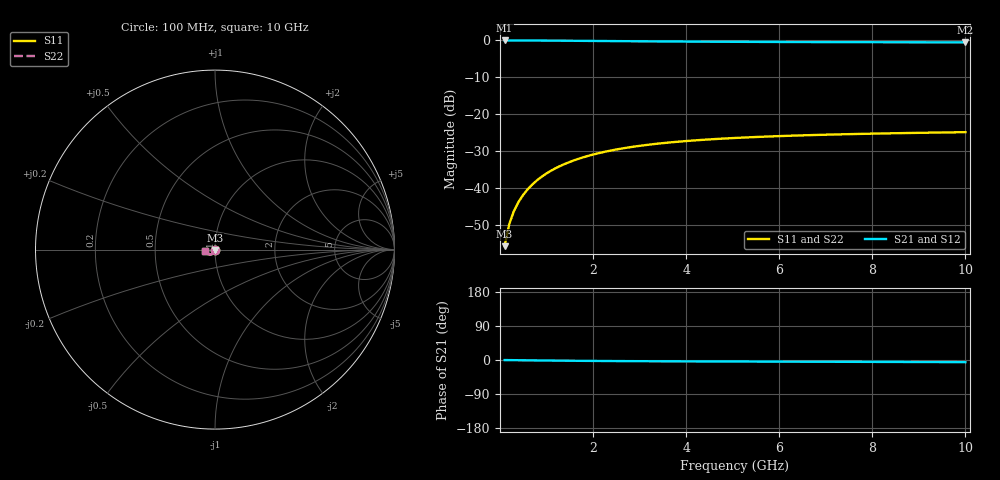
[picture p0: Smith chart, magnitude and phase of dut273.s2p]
! Touchstone file exported from HFSS 2024.1.0
!  File:  C:/UserFiles/LocalFiles/RDL_TSV_Batchsim/temp_TSV1_273_1778770022.aedt
!  Generated:  10:51:16 PM May 14, 2026
!  Design:  TSV1
!  Project:  temp_TSV1_273_1778770022
!  Setup:  Setup1
!  Solution:  Sweep
! Variables:
!  dtsv = 12.09um
!  hbump = 3um
!  htsv = 88.58um
!  lrdl = 252.1521522um
!  p = 40
!  p1 = 51.28um
!  t = 500um
!  trdl = 3um
!  wrdl = 24.89489489um
# GHz S MA R 50.000000
! Terminal data exported
! Port[1] = TSV22_T1
! Port[2] = TSV22_T2
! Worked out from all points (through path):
!   100 points, 100 MHz to 10 GHz, reference 50 ohm
!   highest |S21| = 0.00 dB at 100 MHz (marker M1); lowest = -0.5 dB at 10 GHz (marker M2)
!   lowest |S11| = -55.7 dB at 100 MHz (marker M3), VSWR 1.00, Z = 50 - j0.163 ohm
!   |S11| at or under -10 dB: start of sweep to end of sweep
!   |S22| runs from -55.7 to -24.9 dB; largest |S21 - S12| = 3.2e-15
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0.1  0.001631 -88.0  0.9998 -0.1  0.9998 -0.1  0.001631 -88.0
! Gamma 0 0 0 0
! Port Impedance 50 0 50 0
0.2  0.003258 -91.5  0.9997 -0.3  0.9997 -0.3  0.003258 -91.5
0.3  0.004882 -93.8  0.9994 -0.4  0.9994 -0.4  0.004882 -93.8
0.4  0.0065 -95.9  0.999 -0.6  0.999 -0.6  0.0065 -95.9
0.5  0.008104 -97.8  0.9986 -0.7  0.9986 -0.7  0.008104 -97.8
0.6  0.00969 -99.7  0.998 -0.9  0.998 -0.9  0.00969 -99.7
0.7  0.01125 -101.5  0.9974 -1.0  0.9974 -1.0  0.01125 -101.5
0.8  0.01279 -103.3  0.9967 -1.1  0.9967 -1.1  0.01279 -103.3
0.9  0.0143 -105.0  0.996 -1.3  0.996 -1.3  0.0143 -105.0
1.1  0.01721 -108.4  0.9943 -1.5  0.9943 -1.5  0.01721 -108.4
1.4  0.02131 -113.2  0.9914 -1.9  0.9914 -1.9  0.02131 -113.2
1.6  0.02384 -116.3  0.9893 -2.1  0.9893 -2.1  0.02384 -116.3
1.8  0.02622 -119.2  0.9871 -2.3  0.9871 -2.3  0.02622 -119.2
2.1  0.02948 -123.3  0.9838 -2.5  0.9838 -2.5  0.02948 -123.3
2.5  0.0333 -128.3  0.9794 -2.8  0.9794 -2.8  0.0333 -128.3
2.9  0.03657 -132.8  0.9752 -3.1  0.9752 -3.1  0.03657 -132.8
3.4  0.04 -137.8  0.9705 -3.3  0.9705 -3.3  0.04 -137.8
4.2  0.0443 -144.7  0.964 -3.7  0.964 -3.7  0.0443 -144.7
5.1  0.04788 -151.0  0.9582 -4.0  0.9582 -4.0  0.04788 -151.0
6.7  0.05221 -159.9  0.9508 -4.6  0.9508 -4.6  0.05221 -159.9
8.4  0.05519 -167.3  0.9456 -5.1  0.9456 -5.1  0.05519 -167.3
10  0.05717 -172.9  0.9423 -5.7  0.9423 -5.7  0.05717 -172.9
